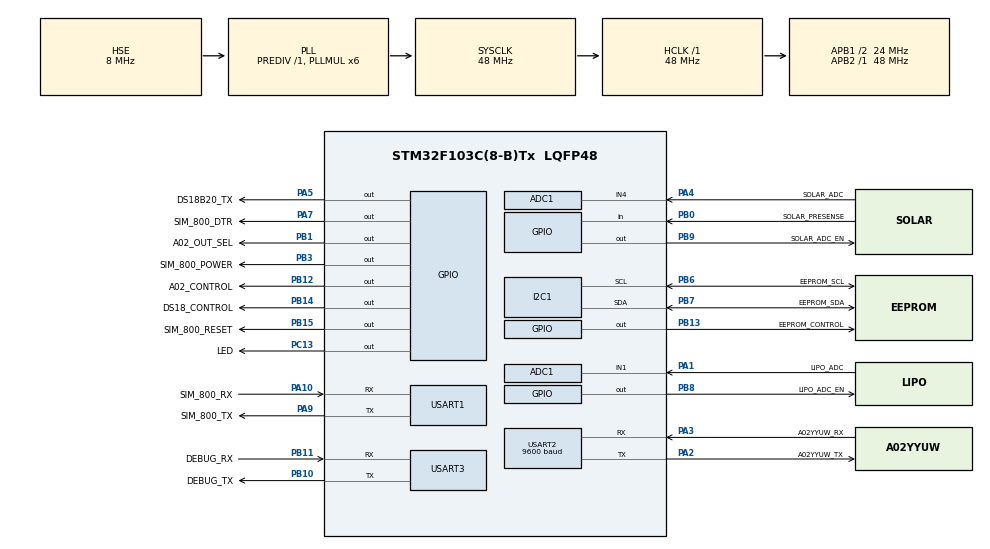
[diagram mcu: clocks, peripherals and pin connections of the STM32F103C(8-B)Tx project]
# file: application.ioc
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ADC1.Channel-0\#ChannelRegularConversion=ADC_CHANNEL_1
ADC1.ContinuousConvMode=DISABLE
ADC1.NbrOfConversion=1
ADC1.NbrOfConversionFlag=1
ADC1.Rank-0\#ChannelRegularConversion=1
ADC1.SamplingTime-0\#ChannelRegularConversion=ADC_SAMPLETIME_7CYCLES_5
ADC1.master=1
Dma.Request0=USART1_RX
Dma.USART1_RX.0.Direction=DMA_PERIPH_TO_MEMORY
Dma.USART1_RX.0.Instance=DMA1_Channel5
Dma.USART1_RX.0.MemDataAlignment=DMA_MDATAALIGN_BYTE
Dma.USART1_RX.0.MemInc=DMA_MINC_ENABLE
Dma.USART1_RX.0.Mode=DMA_NORMAL
Dma.USART1_RX.0.PeriphDataAlignment=DMA_PDATAALIGN_BYTE
Dma.USART1_RX.0.PeriphInc=DMA_PINC_DISABLE
Dma.USART1_RX.0.Priority=DMA_PRIORITY_LOW
I2C1.I2C_Mode=I2C_Fast
Mcu.Family=STM32F1
Mcu.Name=STM32F103C(8-B)Tx
Mcu.Package=LQFP48
NVIC.DMA1_Channel5_IRQn=true\:0\:0\:false\:false\:true\:false\:true\:true
NVIC.PriorityGroup=NVIC_PRIORITYGROUP_4
NVIC.RTC_Alarm_IRQn=true\:0\:0\:false\:false\:true\:true\:true\:true
NVIC.RTC_IRQn=true\:2\:0\:true\:false\:true\:true\:true\:true
NVIC.USART1_IRQn=true\:0\:0\:false\:false\:true\:true\:true\:true
PA1.GPIO_Label=LIPO_ADC
PA1.Signal=ADCx_IN1
PA10.GPIO_Label=SIM_800_RX
PA10.Mode=Asynchronous
PA10.Signal=USART1_RX
PA13.Mode=Serial_Wire
PA13.Signal=SYS_JTMS-SWDIO
PA14.Mode=Serial_Wire
PA14.Signal=SYS_JTCK-SWCLK
PA2.GPIO_Label=A02YYUW_TX
PA2.Mode=Asynchronous
PA2.Signal=USART2_TX
PA3.GPIO_Label=A02YYUW_RX
PA3.Mode=Asynchronous
PA3.Signal=USART2_RX
PA4.GPIO_Label=SOLAR_ADC
PA4.Signal=ADCx_IN4
PA5.GPIO_Label=DS18B20_TX
PA5.GPIO_Speed=GPIO_SPEED_FREQ_HIGH
PA5.PinState=GPIO_PIN_SET
PA5.Signal=GPIO_Output
PA7.GPIO_Label=SIM_800_DTR
PA7.GPIO_ModeDefaultOutputPP=GPIO_MODE_OUTPUT_PP
PA7.GPIO_PuPd=GPIO_NOPULL
PA7.PinState=GPIO_PIN_SET
PA7.Signal=GPIO_Output
PA9.GPIO_Label=SIM_800_TX
PA9.Mode=Asynchronous
PA9.Signal=USART1_TX
PB0.GPIO_Label=SOLAR_PRESENSE
PB0.GPIO_PuPd=GPIO_PULLUP
PB0.Signal=GPIO_Input
PB1.GPIO_Label=A02_OUT_SEL
PB1.PinState=GPIO_PIN_SET
PB1.Signal=GPIO_Output
PB10.GPIO_Label=DEBUG_TX
PB10.Mode=Asynchronous
PB10.Signal=USART3_TX
PB11.GPIO_Label=DEBUG_RX
PB11.Mode=Asynchronous
PB11.Signal=USART3_RX
PB12.GPIO_Label=A02_CONTROL
PB12.GPIO_ModeDefaultOutputPP=GPIO_MODE_OUTPUT_PP
PB12.GPIO_PuPd=GPIO_NOPULL
PB12.PinState=GPIO_PIN_SET
PB12.Signal=GPIO_Output
PB13.GPIO_Label=EEPROM_CONTROL
PB13.GPIO_ModeDefaultOutputPP=GPIO_MODE_OUTPUT_PP
PB13.GPIO_PuPd=GPIO_NOPULL
PB13.PinState=GPIO_PIN_SET
PB13.Signal=GPIO_Output
PB14.GPIO_Label=DS18_CONTROL
PB14.GPIO_ModeDefaultOutputPP=GPIO_MODE_OUTPUT_PP
PB14.GPIO_PuPd=GPIO_NOPULL
PB14.PinState=GPIO_PIN_SET
PB14.Signal=GPIO_Output
PB15.GPIO_Label=SIM_800_RESET
PB15.GPIO_ModeDefaultOutputPP=GPIO_MODE_OUTPUT_OD
PB15.GPIO_PuPd=GPIO_NOPULL
PB15.PinState=GPIO_PIN_SET
PB15.Signal=GPIO_Output
PB3.GPIO_Label=SIM_800_POWER
PB3.Signal=GPIO_Output
PB6.GPIO_Label=EEPROM_SCL
PB6.Mode=I2C
PB6.Signal=I2C1_SCL
PB7.GPIO_Label=EEPROM_SDA
PB7.Mode=I2C
PB7.Signal=I2C1_SDA
PB8.GPIO_Label=LIPO_ADC_EN
PB8.GPIO_ModeDefaultOutputPP=GPIO_MODE_OUTPUT_PP
PB8.GPIO_PuPd=GPIO_NOPULL
PB8.PinState=GPIO_PIN_RESET
PB8.Signal=GPIO_Output
PB9.GPIO_Label=SOLAR_ADC_EN
PB9.Signal=GPIO_Output
PC13-TAMPER-RTC.GPIO_Label=LED
PC13-TAMPER-RTC.GPIO_ModeDefaultOutputPP=GPIO_MODE_OUTPUT_OD
PC13-TAMPER-RTC.GPIO_PuPd=GPIO_PULLUP
PC13-TAMPER-RTC.GPIO_Speed=GPIO_SPEED_FREQ_LOW
PC13-TAMPER-RTC.Signal=GPIO_Output
PC14-OSC32_IN.Mode=LSE-External-Oscillator
PC14-OSC32_IN.Signal=RCC_OSC32_IN
PC15-OSC32_OUT.Mode=LSE-External-Oscillator
PC15-OSC32_OUT.Signal=RCC_OSC32_OUT
PD0-OSC_IN.Mode=HSE-External-Oscillator
PD0-OSC_IN.Signal=RCC_OSC_IN
PD1-OSC_OUT.Mode=HSE-External-Oscillator
PD1-OSC_OUT.Signal=RCC_OSC_OUT
ProjectManager.HeapSize=0x200
ProjectManager.StackSize=0x400
ProjectManager.TargetToolchain=STM32CubeIDE
RCC.ADCPresc=RCC_ADCPCLK2_DIV6
RCC.AHBFreq_Value=48000000
RCC.APB1CLKDivider=RCC_HCLK_DIV2
RCC.APB1Freq_Value=24000000
RCC.APB1TimFreq_Value=48000000
RCC.APB2Freq_Value=48000000
RCC.APB2TimFreq_Value=48000000
RCC.HCLKFreq_Value=48000000
RCC.PLLMUL=RCC_PLL_MUL6
RCC.PLLSourceVirtual=RCC_PLLSOURCE_HSE
RCC.RTCClockSelection=RCC_RTCCLKSOURCE_LSE
RCC.SYSCLKFreq_VALUE=48000000
RCC.SYSCLKSource=RCC_SYSCLKSOURCE_PLLCLK
RCC.USBFreq_Value=48000000
RTC.Format=RTC_FORMAT_BIN
RTC.WeekDay=RTC_WEEKDAY_SUNDAY
RTC.Year=23
SH.ADCx_IN1.0=ADC1_IN1,IN1
SH.ADCx_IN4.0=ADC1_IN4,IN4
TIM4.Prescaler=48-1
USART1.VirtualMode=VM_ASYNC
USART2.BaudRate=9600
USART2.VirtualMode=VM_ASYNC
USART3.VirtualMode=VM_ASYNC
VP_ADC1_TempSens_Input.Mode=IN-TempSens
VP_RTC_VS_RTC_Activate.Mode=RTC_Enabled
VP_RTC_VS_RTC_Calendar.Mode=RTC_Calendar
VP_TIM4_VS_ClockSourceINT.Mode=Internal
board=custom

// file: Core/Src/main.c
/* USER CODE BEGIN Header */
/**
  ******************************************************************************
  * @file           : main.c
  * @brief          : Main program body
  ******************************************************************************
  * @attention
  *
  * Copyright (c) 2023 STMicroelectronics.
  * All rights reserved.
  *
  * This software is licensed under terms that can be found in the LICENSE file
  * in the root directory of this software component.
  * If no LICENSE file comes with this software, it is provided AS-IS.
  *
  ******************************************************************************
  */
/* USER CODE END Header */
#include "main.h"
#include "adc.h"
#include "dma.h"
#include "i2c.h"
#include "rtc.h"
#include "tim.h"
#include "usart.h"
#include "gpio.h"

/* USER CODE BEGIN Includes */

#include "stdlib.h"
#include "stdio.h"
#include "new_firmware.h"
#include "SIM800L.h"
#include "retarget.h"
#include "Process_Data.h"
#include "EEPROM_data.h"
#include "adc_util.h"
#include "ds18b20.h"
#include "a02yyuw.h"
#include "predict.h"
#include "EEPROM.h"
#include "critical.h"
#include "client_subscription.h"

/* USER CODE END Includes */

/* USER CODE BEGIN PV */

extern uint8_t buffer[MAX_RECEIVE_BUF_SIZE];
extern uint8_t bootloader_restart;

extern float tank_temp;
extern float curr_volume;
extern volatile timeDist_obj accum_data;

extern uint8_t ds18b20_measurements_enable;

//extern uint8_t low_battery_shutdown_flag;

extern char admins[MAX_ADMINS][14];

uint8_t standby_flag = 0;
extern uint8_t standby_mode_enable;

extern struct standby_alarm wakeup_time;
extern struct standby_alarm standby_time;

uint8_t measurement_error_flag = 0;
general_status measurement_error_no;

time_t measError_time = 0;

extern uint8_t subscription_enable;
extern data_addr data;

/* USER CODE END PV */

void SystemClock_Config(void);

/* USER CODE BEGIN 0 */

void HAL_RTC_AlarmAEventCallback(RTC_HandleTypeDef *hrtc){

	if(standby_mode_enable) {
		standby_flag = 1;
		D(printf("Marking stanby_flag = 1\n"));
	}

}

void HAL_UART_RxCpltCallback(UART_HandleTypeDef *huart){
//	if(low_battery_shutdown_flag) return;

//	D(printf("UART receive callback\n"));
	HAL_ResumeTick();

	HAL_RTCEx_BKUPWrite(&hrtc, RTC_BKP_DR2, 0x0);
}

void HAL_RTCEx_RTCEventCallback(RTC_HandleTypeDef *hrtc){

	HAL_NVIC_DisableIRQ(RTC_IRQn);
	HAL_NVIC_DisableIRQ(RTC_Alarm_IRQn);

	HAL_NVIC_DisableIRQ(USART1_IRQn);

//	SystemClock_Config();
	HAL_ResumeTick();

	HAL_RTCEx_BKUPWrite(hrtc, RTC_BKP_DR1, HAL_RTCEx_BKUPRead(hrtc, RTC_BKP_DR1)+1);
	HAL_RTCEx_BKUPWrite(hrtc, RTC_BKP_DR2, HAL_RTCEx_BKUPRead(hrtc, RTC_BKP_DR2)+1);
//	D(printf("1 second interrupt callback\n"));

	if(HAL_RTCEx_BKUPRead(hrtc, RTC_BKP_DR1) >= 10){
		D(printf("10 second interrupt callback\n"));
		// reset backup register value
		HAL_RTCEx_BKUPWrite(hrtc, RTC_BKP_DR1, 0x0);

		// disable auto enrty into low power in order to
		// process data and respond to requests after taking
		// sensor measurements
//		HAL_PWR_DisableSleepOnExit();

		// take sensor measurements
		volatile general_status ret;
//		if(ds18b20_measurements_enable){
//			ret = getTempDS18B20(&tank_temp);
//			if(ret != OK) D(printf("DS18B20 Error: %d\n", ret));
//		}

		ret = getAndInsertMeas();
		if(ret != OK){
			D(printf("Measurement error: %d\n", ret));
			measurement_error_flag = 1;
			measurement_error_no = ret;
		}
		measurement_error_flag = 0;

	}

	if(HAL_RTCEx_BKUPRead(hrtc, RTC_BKP_DR2) >= 30){
		D(printf("30 second interrupt callback\n"));
		HAL_RTCEx_BKUPWrite(hrtc, RTC_BKP_DR2, 0x0);
	}

	HAL_NVIC_EnableIRQ(RTC_IRQn);
	HAL_NVIC_EnableIRQ(RTC_Alarm_IRQn);

	HAL_NVIC_EnableIRQ(USART1_IRQn);

}

/* USER CODE END 0 */

int main(void)
{

  /* MCU Configuration--------------------------------------------------------*/

  /* Reset of all peripherals, Initializes the Flash interface and the Systick. */
  HAL_Init();

  /* Configure the system clock */
  SystemClock_Config();

  /* Initialize all configured peripherals */
  MX_GPIO_Init();
  MX_DMA_Init();
  MX_USART1_UART_Init();
  MX_ADC1_Init();
  MX_I2C1_Init();
  MX_USART3_UART_Init();
  MX_TIM4_Init();
  MX_USART2_UART_Init();
  MX_RTC_Init();
  /* USER CODE BEGIN 2 */

//  HAL_GPIO_WritePin(LED_GPIO_Port, LED_Pin, 1);

  // Timer for DS18B20, for microsecond delay
  HAL_TIM_Base_Start(&htim4);

  RetargetInit(&huart3);
  HAL_UART_Receive_DMA(&huart1, buffer, MAX_RECEIVE_BUF_SIZE);

  // write initial value into first backup register to indicate initial state
  // of measurements period setup
  HAL_RTCEx_BKUPWrite(&hrtc, RTC_BKP_DR1, 0xFFFF);
  // initial value for answering requests periodically
  HAL_RTCEx_BKUPWrite(&hrtc, RTC_BKP_DR2, 0xFFFF);

  general_status rett;
//
//  rett = delete_user("995598933675");
//  printf("delete_user returned: %d\n", rett);
//
//  rett = delete_user("995598933845");
//  printf("delete_user returned: %d\n", rett);
//
//  rett = delete_user("995598933846");
//  printf("delete_user returned: %d\n", rett);
////
//  rett = add_user("+995598933845", "2000(V)", "60(T)");
//  printf("add_user returned: %d\n", rett);
//
//  rett = add_user("+995598933846", "3000(V)", "60(T)");
//  printf("add_user returned: %d\n", rett);
//
//  rett = add_user("+995598933675", "240(T)", "2500(V)");
//  printf("add_user returned: %d\n", rett);
//
//  rett = read_user("+995598933845");
//  printf("read_user returned: %d\n", rett);
//
//  rett = read_user("+995598933675");
//  printf("read_user returned: %d\n", rett);
//
//  rett = read_user("+995598933846");
//  printf("read_user returned: %d\n", rett);
//
//  rett = write_user_enable("+995598933675", 0);
//  printf("write_user_enable returned: %d\n", rett);
//
//  rett = write_user_enable("+995598933845", 0);
//  printf("write_user_enable returned: %d\n", rett);
//
//  rett = read_user("+995598933845");
//  printf("read_user returned: %d\n", rett);
//
//  rett = write_user_enable("+995598933845", 1);
//  printf("write_user_enable returned: %d\n", rett);
//
//  rett = update_user("+995598933675", "7020(V),2400(V),200(T)", "100(T),15000(V)");
//  printf("update_user returned: %d\n", rett);
//
//  rett = update_user("+995598933845", "100(T),1800(V),120(T)", "10(T),6000(V),15000(V)");
//  printf("update_user returned: %d\n", rett);
//
//  rett = read_user("+995598933845");
//  printf("read_user returned: %d\n", rett);
//
//  rett = read_user("+995598933675");
//  printf("read_user returned: %d\n", rett);
//
//  rett = read_user("+995598933846");
//  printf("read_user returned: %d\n", rett);

  subscription_enable = 1;

  rett = init_read_users(&data);
  D(printf("init_read_users returned :%d\n", rett));

  D(printf("@@@@@@@@@@@@@@@@@@@@@@@@@@@@@@   VOLUME  @@@@@@@@@@@@@@@@@@@@@@@@@@@@@@\n"));
  print_thresholds(data.volume_thresholds);

  D(printf("\n\n\n\n\n@@@@@@@@@@@@@@@@@@@@@@@@@@@@@@   TIME   @@@@@@@@@@@@@@@@@@@@@@@@@@@@@@\n"));
  print_thresholds(data.time_thresholds);

  D(printf("\n\n\n\n\n@@@@@@@@@@@@@@@@@@@@@@@@@@@@@@   ADDRESSES   @@@@@@@@@@@@@@@@@@@@@@@@@@@@@@\n"));
  print_number_page(data.number_addr);

//  while(1){}

//  uint32_t tickstart;
//  	uint8_t buffer_a02[A02YYUW_RX_SIZE];
////  	uint16_t a02yyuw_measurement = 0;
//  	uint8_t trials = 0;
//  	uint16_t distance;
//
//	HAL_GPIO_WritePin(A02_CONTROL_GPIO_Port, A02_CONTROL_Pin, 0);
//
//  while(1){
//	  tickstart = HAL_GetTick();
//	while(1){
//		if(HAL_UART_Receive(&huart2, buffer_a02, 1, 300) != HAL_OK){
//			D(printf("Error in reception of data\n"));
//			if(trials >= A02YYUW_MAX_MEAS_TRIALS){
//				return A02YYUW_ERROR_READING_MEASUREMENT;
//			}
//			trials += 1;
//			continue;
//		}
//		if(buffer_a02[0] == 0xFF){
//			HAL_UART_Receive(&huart2, buffer_a02+1, 1, 300);
//			HAL_UART_Receive(&huart2, buffer_a02+2, 1, 300);
//			HAL_UART_Receive(&huart2, buffer_a02+3, 1, 300);
//
//			if((uint8_t)(buffer_a02[0] + buffer_a02[1] + buffer_a02[2]) == buffer_a02[3]){
//				distance = (buffer_a02[1] << 8) | buffer_a02[2];
////				a02yyuw_measurement = distance;
//  				D(printf("Distance: %d mm\n", distance));
//				break;
//			}
//		}
//		if(HAL_GetTick() - tickstart > 1000){
//			HAL_GPIO_WritePin(A02_CONTROL_GPIO_Port, A02_CONTROL_Pin, 1);
//			return A02YYUW_TIMEOUT;
//		}
//	}
//
//  }

  general_status ret;
  ret = critical_check();
  if(ret != OK){
	  D(printf("error during critical check. error no: %d", ret));
  }

  /* USER CODE END 2 */

  /* Infinite loop */
  /* USER CODE BEGIN WHILE */

  char * confStr;
  confStr = (char *)malloc(sizeof(char) * CONF_REPORT_MAX_LENGTH);
  read_all_conf(confStr);
  free(confStr);

  SIM800L_init();

  if(read_bootloder_wakeup(1)){
	  write_bootloder_wakeup(0, 1);

	  char message[100] = {};
	  sprintf(message, "Module has woken up from successful bootloader start");
	  SIM800L_SMS(admins[0], message, 1);
  }

  // set alarm for entering standby mode
  RTC_AlarmTypeDef sAlarm;
  sAlarm.Alarm = RTC_ALARM_A;
  sAlarm.AlarmTime.Hours = standby_time.hour;
  sAlarm.AlarmTime.Minutes = standby_time.minute;
  sAlarm.AlarmTime.Seconds = standby_time.second;
  HAL_RTC_SetAlarm_IT(&hrtc, &sAlarm, RTC_FORMAT_BIN);

  HAL_RTCEx_SetSecond_IT(&hrtc);

  while (1)
  {

	  // wake sim800 from sleep
	  HAL_GPIO_WritePin(SIM_800_DTR_GPIO_Port, SIM_800_DTR_Pin, 0);
	  HAL_Delay(500);

	  SIM800L_RECONNECT();

	  if (__HAL_PWR_GET_FLAG(PWR_FLAG_SB) != RESET){
		__HAL_PWR_CLEAR_FLAG(PWR_FLAG_SB);  // clear the flag

		D(printf("woke up from standby\n"));
		char message[200] = {};
		sprintf(message, "Module has woken up from standby mode");
		SIM800L_SMS(admins[0], message, 1);
	  }

	  // skip request handling for the first time device has powered up
	  if(tank_temp == 0 && curr_volume == 0){
		  D(printf("skip due to recent power up\n"));
	  }else{
		  check_requests();
	  }

	  struct tm curr_tm;
	  char strtime[30] = {};
	  time_t curr_time;
	  getSTMdatetime(&curr_tm, strtime);
	  curr_time = mktime(&curr_tm);

	  if(measurement_error_flag && ((curr_time - measError_time) > 60 * 15)){
		  measurement_error_flag = 0;

		  measError_time = curr_time;

		  char message[50] = {};
		  sprintf(message, "Measurement error: %d", measurement_error_no);
		  SIM800L_SMS(admins[0], message, 1);
	  }

	  if(standby_flag){
		// set alarm for waking up
		RTC_AlarmTypeDef sAlarm;
		sAlarm.Alarm = RTC_ALARM_A;
		sAlarm.AlarmTime.Hours = wakeup_time.hour;
		sAlarm.AlarmTime.Minutes = wakeup_time.minute;
		sAlarm.AlarmTime.Seconds = wakeup_time.second;
		HAL_RTC_SetAlarm_IT(&hrtc, &sAlarm, RTC_FORMAT_BIN);

		char message[200] = {};
		sprintf(message, "Module is going to enter standby mode");
		SIM800L_SMS(admins[0], message, 1);

		SIM800L_SHUTDOWN();
		// in case shutdown command did not succeed, cut power
		HAL_GPIO_WritePin(SIM_800_POWER_GPIO_Port, SIM_800_POWER_Pin, 0);

		__HAL_PWR_CLEAR_FLAG(PWR_FLAG_WU);

		/* clear the RTC Wake UP (WU) flag */
		//  __HAL_RTC_WAKEUPTIMER_CLEAR_FLAG(&hrtc, RTC_FLAG_WUTF);
		__HAL_RTC_CLEAR_FLAG();

		HAL_PWR_EnterSTANDBYMode();
	  }

	  // enable sim800 module to go to sleep
	  HAL_GPIO_WritePin(SIM_800_DTR_GPIO_Port, SIM_800_DTR_Pin, 1);

	  // check critical events
	  ret = critical_check();
	  if(ret != OK){
		  D(printf("error during critical check. error no: %d", ret));
	  }

	  if(bootloader_restart){
		  SIM800L_SHUTDOWN();
		  jump_to(BOOTLOADER_ADDRESS);
	  }

//	  HAL_GPIO_TogglePin(LED_GPIO_Port, LED_Pin);

//	  HAL_Delay(5000);

    /* USER CODE END WHILE */

    /* USER CODE BEGIN 3 */

//	  D(printf("Outer loop check \n"));

	  HAL_UART_DMAStop(&huart1);
	  HAL_UART_Receive_DMA(&huart1, buffer, 1);

	  while(1){
	//	  HAL_PWR_EnableSleepOnExit();
//		  __HAL_RCC_PWR_CLK_ENABLE();
//		  HAL_PWR_EnterSTOPMode(PWR_LOWPOWERREGULATOR_ON, PWR_STOPENTRY_WFE);

		  HAL_SuspendTick();
		  HAL_PWR_EnterSLEEPMode(PWR_MAINREGULATOR_ON, PWR_SLEEPENTRY_WFI);
		  HAL_ResumeTick();

		  if(HAL_RTCEx_BKUPRead(&hrtc, RTC_BKP_DR2) == 0){
			  HAL_UART_DMAStop(&huart1);
			  HAL_UART_Receive_DMA(&huart1, buffer, MAX_RECEIVE_BUF_SIZE);
			  break;
		  }
	  }

  }
  /* USER CODE END 3 */
}

void SystemClock_Config(void)
{
  RCC_OscInitTypeDef RCC_OscInitStruct = {0};
  RCC_ClkInitTypeDef RCC_ClkInitStruct = {0};
  RCC_PeriphCLKInitTypeDef PeriphClkInit = {0};

  /** Initializes the RCC Oscillators according to the specified parameters
  * in the RCC_OscInitTypeDef structure.
  */
  RCC_OscInitStruct.OscillatorType = RCC_OSCILLATORTYPE_HSE|RCC_OSCILLATORTYPE_LSE;
  RCC_OscInitStruct.HSEState = RCC_HSE_ON;
  RCC_OscInitStruct.HSEPredivValue = RCC_HSE_PREDIV_DIV1;
  RCC_OscInitStruct.LSEState = RCC_LSE_ON;
  RCC_OscInitStruct.HSIState = RCC_HSI_ON;
  RCC_OscInitStruct.PLL.PLLState = RCC_PLL_ON;
  RCC_OscInitStruct.PLL.PLLSource = RCC_PLLSOURCE_HSE;
  RCC_OscInitStruct.PLL.PLLMUL = RCC_PLL_MUL6;
  if (HAL_RCC_OscConfig(&RCC_OscInitStruct) != HAL_OK)
  {
    Error_Handler();
  }

  /** Initializes the CPU, AHB and APB buses clocks
  */
  RCC_ClkInitStruct.ClockType = RCC_CLOCKTYPE_HCLK|RCC_CLOCKTYPE_SYSCLK
                              |RCC_CLOCKTYPE_PCLK1|RCC_CLOCKTYPE_PCLK2;
  RCC_ClkInitStruct.SYSCLKSource = RCC_SYSCLKSOURCE_PLLCLK;
  RCC_ClkInitStruct.AHBCLKDivider = RCC_SYSCLK_DIV1;
  RCC_ClkInitStruct.APB1CLKDivider = RCC_HCLK_DIV2;
  RCC_ClkInitStruct.APB2CLKDivider = RCC_HCLK_DIV1;

  if (HAL_RCC_ClockConfig(&RCC_ClkInitStruct, FLASH_LATENCY_1) != HAL_OK)
  {
    Error_Handler();
  }
  PeriphClkInit.PeriphClockSelection = RCC_PERIPHCLK_RTC|RCC_PERIPHCLK_ADC;
  PeriphClkInit.RTCClockSelection = RCC_RTCCLKSOURCE_LSE;
  PeriphClkInit.AdcClockSelection = RCC_ADCPCLK2_DIV6;
  if (HAL_RCCEx_PeriphCLKConfig(&PeriphClkInit) != HAL_OK)
  {
    Error_Handler();
  }
}

void Error_Handler(void)
{
  /* USER CODE BEGIN Error_Handler_Debug */
  /* User can add his own implementation to report the HAL error return state */
  __disable_irq();
  while (1)
  {
	  D(printf("Into Error_Handler\nRestarting..."));
	  NVIC_SystemReset();
  }
  /* USER CODE END Error_Handler_Debug */
}
